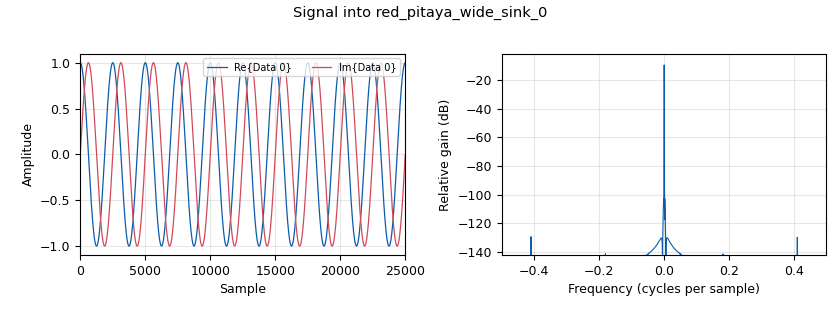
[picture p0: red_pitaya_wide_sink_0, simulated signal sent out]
options:
  parameters:
    category: Custom
    generate_options: qt_gui
    id: trx_wide_template
    output_language: python
  states: {}

blocks:
- name: addr
  id: variable
  parameters:
    value: '"192.168.1.100"'
  states: {}
- name: ptt
  id: variable_qtgui_check_box
  parameters:
    'false': 'False'
    gui_hint: 0,0,1,1
    'true': 'True'
    type: int
    value: 'False'
  states: {}
- name: rx_samp_rate
  id: variable
  parameters:
    value: '2500000'
  states: {}
- name: samp_rate
  id: variable
  parameters:
    value: '48000'
  states: {}
- name: tx_samp_rate
  id: variable
  parameters:
    value: '2500000'
  states: {}
- name: analog_sig_source_x_0
  id: analog_sig_source_x
  parameters:
    amp: '1'
    freq: '1000'
    offset: '0'
    phase: '0'
    samp_rate: tx_samp_rate
    type: complex
    waveform: analog.GR_COS_WAVE
  states: {}
- name: qtgui_freq_sink_x_0
  id: qtgui_freq_sink_x
  parameters:
    bw: rx_samp_rate
    fc: '0'
    fftsize: '1024'
    gui_hint: 1,0,1,1
    name: QT GUI Plot
    showports: 'True'
    type: complex
    wintype: window.WIN_HAMMING
  states: {}
- name: red_pitaya_wide_sink_0
  id: red_pitaya_wide_sink
  parameters:
    addr: str(addr)
    corr: '0'
    freq: '12000000'
    mask: '1'
    port: '1001'
    ptt: ptt
    rate: tx_samp_rate
  states: {}
- name: red_pitaya_wide_source_0
  id: red_pitaya_wide_source
  parameters:
    addr: str(addr)
    corr: '0'
    freq: '12000000'
    mask: '1'
    port: '1001'
    rate: rx_samp_rate
  states: {}

connections:
- [analog_sig_source_x_0, '0', red_pitaya_wide_sink_0, '0']
- [red_pitaya_wide_source_0, '0', qtgui_freq_sink_x_0, '0']

metadata:
  file_format: 1
  grc_version: 3.10.5.1
